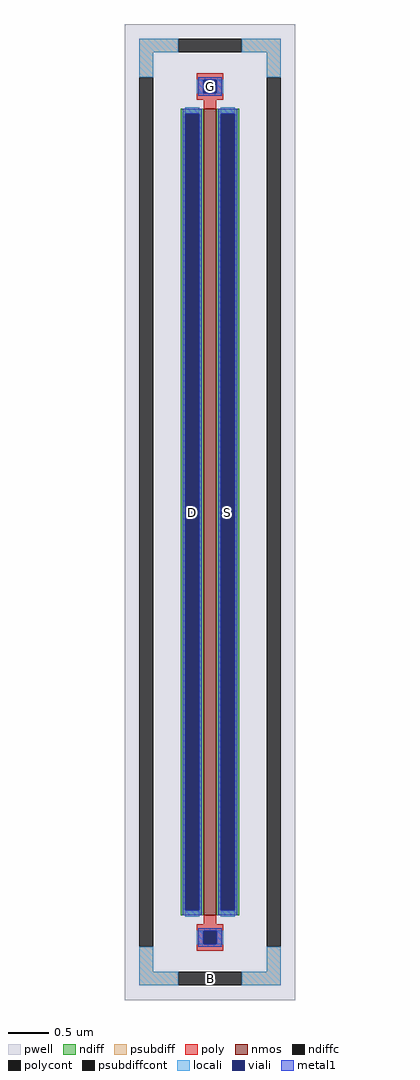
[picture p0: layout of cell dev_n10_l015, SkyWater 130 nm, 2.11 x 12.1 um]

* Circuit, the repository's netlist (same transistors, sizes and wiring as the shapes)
* NGSPICE file created from dev_n10_l015.ext - technology: sky130A

.subckt dev_n10_l015 B D S G
X0 S G D B sky130_fd_pr__nfet_01v8 ad=2.9 pd=20.58 as=2.9 ps=20.58 w=10 l=0.15
.ends

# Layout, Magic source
magic
tech sky130A
magscale 1 2
<< pwell >>
rect -211 -1210 211 1210
<< nmos >>
rect -15 -1000 15 1000
<< ndiff >>
rect -73 988 -15 1000
rect -73 -988 -61 988
rect -27 -988 -15 988
rect -73 -1000 -15 -988
rect 15 988 73 1000
rect 15 -988 27 988
rect 61 -988 73 988
rect 15 -1000 73 -988
<< ndiffc >>
rect -61 -988 -27 988
rect 27 -988 61 988
<< psubdiff >>
rect -175 1140 -79 1174
rect 79 1140 175 1174
rect -175 1078 -141 1140
rect 141 1078 175 1140
rect -175 -1140 -141 -1078
rect 141 -1140 175 -1078
rect -175 -1174 -79 -1140
rect 79 -1174 175 -1140
<< psubdiffcont >>
rect -79 1140 79 1174
rect -175 -1078 -141 1078
rect 141 -1078 175 1078
rect -79 -1174 79 -1140
<< poly >>
rect -33 1072 33 1088
rect -33 1038 -17 1072
rect 17 1038 33 1072
rect -33 1022 33 1038
rect -15 1000 15 1022
rect -15 -1022 15 -1000
rect -33 -1038 33 -1022
rect -33 -1072 -17 -1038
rect 17 -1072 33 -1038
rect -33 -1088 33 -1072
<< polycont >>
rect -17 1038 17 1072
rect -17 -1072 17 -1038
<< locali >>
rect -175 1140 -79 1174
rect 79 1140 175 1174
rect -175 1078 -141 1140
rect 141 1078 175 1140
rect -33 1038 -17 1072
rect 17 1038 33 1072
rect -61 988 -27 1004
rect -61 -1004 -27 -988
rect 27 988 61 1004
rect 27 -1004 61 -988
rect -33 -1072 -17 -1038
rect 17 -1072 33 -1038
rect -175 -1140 -141 -1078
rect 141 -1140 175 -1078
rect -175 -1174 -79 -1140
rect 79 -1174 175 -1140
<< viali >>
rect -17 1038 17 1072
rect -61 -988 -27 988
rect 27 -988 61 988
rect -17 -1072 17 -1038
<< metal1 >>
rect -29 1072 29 1078
rect -29 1038 -17 1072
rect 17 1038 29 1072
rect -29 1032 29 1038
rect -67 988 -21 1000
rect -67 -988 -61 988
rect -27 -988 -21 988
rect -67 -1000 -21 -988
rect 21 988 67 1000
rect 21 -988 27 988
rect 61 -988 67 988
rect 21 -1000 67 -988
rect -29 -1038 29 -1032
rect -29 -1072 -17 -1038
rect 17 -1072 29 -1038
rect -29 -1078 29 -1072
<< labels >>
rlabel psubdiffcont 0 -1157 0 -1157 0 B
port 1 nsew
rlabel ndiffc -44 0 -44 0 0 D
port 2 nsew
rlabel ndiffc 44 0 44 0 0 S
port 3 nsew
rlabel polycont 0 1055 0 1055 0 G
port 4 nsew
<< properties >>
string FIXED_BBOX -158 -1157 158 1157
<< end >>
